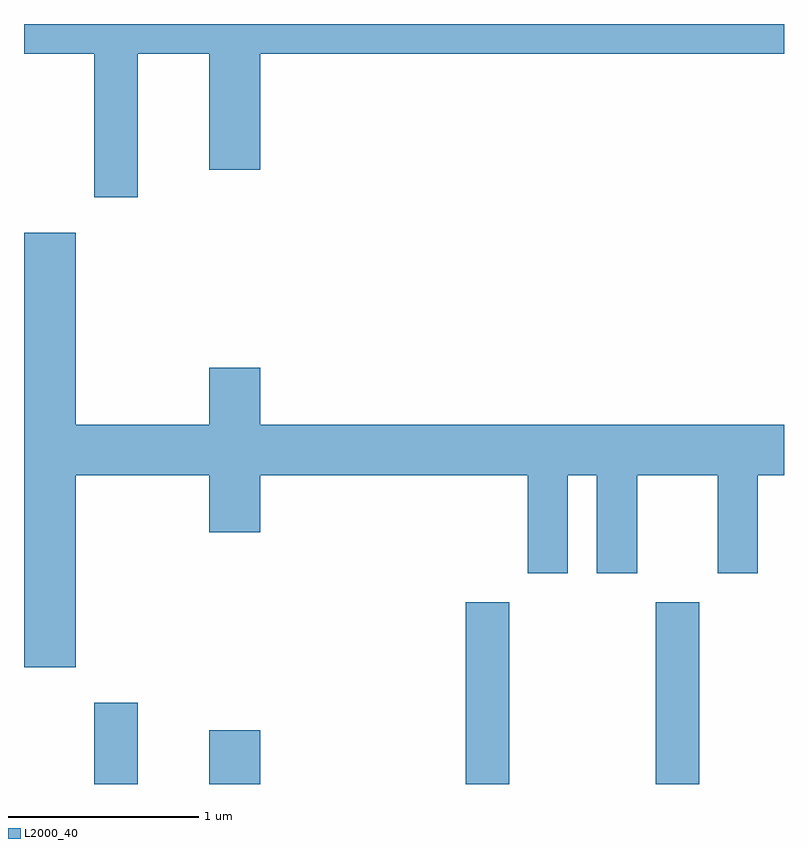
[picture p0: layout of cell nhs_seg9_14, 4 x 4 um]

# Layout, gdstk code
import gdstk
lib = gdstk.Library(unit=1e-6, precision=1e-09)
def R(c, l, rs):  # rectangles x0, y0, x1, y1
    for r in rs: c.add(gdstk.rectangle(r[:2], r[2:], *l))
def P(c, l, *ps):  # polygons
    for p in ps: c.add(gdstk.Polygon(p, *l))
L2000_40 = (2000, 40)

nhs_seg9_14 = lib.new_cell('nhs_seg9_14')
R(nhs_seg9_14, L2000_40, [(185.981,1972.432,186.209,1972.859), (186.586,1972.432,186.854,1972.714), (187.936,1972.432,188.164,1973.389), (188.936,1972.432,189.164,1973.389)])
P(nhs_seg9_14, L2000_40, [(186.209,1976.276),(186.586,1976.276),(186.586,1975.666),(186.854,1975.666),(186.854,1976.276),(189.611,1976.276),(189.611,1976.432),(185.611,1976.432),(185.611,1976.276),(185.981,1976.276),(185.981,1975.521),(186.209,1975.521)],
  [(185.884,1974.056),(186.586,1974.056),(186.586,1973.756),(186.854,1973.756),(186.854,1974.056),(188.261,1974.056),(188.261,1973.541),(188.474,1973.541),(188.474,1974.056),(188.626,1974.056),(188.626,1973.541),(188.839,1973.541),(188.839,1974.056),(189.261,1974.056),(189.261,1973.541),(189.474,1973.541),(189.474,1974.056),(189.611,1974.056),(189.611,1974.324),(186.854,1974.324),(186.854,1974.624),(186.586,1974.624),(186.586,1974.324),(185.884,1974.324),(185.884,1975.334),(185.611,1975.334),(185.611,1973.046),(185.884,1973.046)])

lib.write_gds('nhs_seg9_14.gds')
